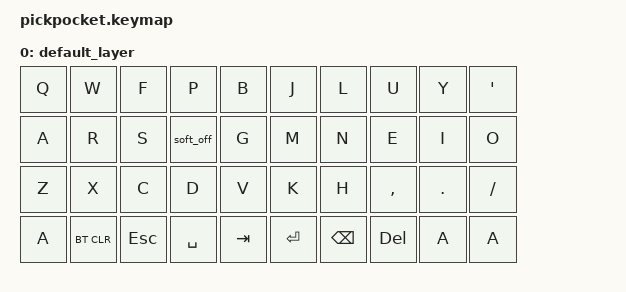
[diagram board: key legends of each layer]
#include <behaviors.dtsi>
#include <dt-bindings/zmk/keys.h>
#include <dt-bindings/zmk/bt.h>
#include <dt-bindings/zmk/outputs.h>


/ {    
    keymap {
        compatible = "zmk,keymap";

        default_layer {
// --------------------------------------------------------------------------------------------------------------------------------------------------------------------
// |   ESC   |    Q    |    W    |    E    |    R    |    T    |                                          |    Y    |    U    |    I    |    O    |    P    |    \    |
// |   TAB   |    A    |    S    |    D    |    F    |    G    |                                          |    H    |    J    |    K    |    L    |    ;    |    '    |
// |  SHIFT  |    Z    |    X    |    C    |    V    |    B    | CTRL+A  | CTRL+C  |  |  CTRL+V |  CTRL+X |    N    |    M    |    ,    |    .    |    /    |  R CTRL |
//                               |   GUI   |   DEL   | RETURN  |  SPACE  | ESCAPE  |  |  RETURN |  SPACE  |   TAB   |   BSPC  |  R ALT  |
            bindings = <
    &kp Q    &kp W         &kp F        &kp P        &kp B      &kp J         &kp L            &kp U             &kp Y        &kp SINGLE_QUOTE
    &kp A    &kp R         &kp S        &soft_off        &kp G      &kp M         &kp N            &kp E             &kp I        &kp O
    &kp Z    &kp X         &kp C        &kp D        &kp V      &kp K         &kp H            &kp COMMA         &kp PERIOD   &kp SLASH
    &kp A    &bt BT_CLR    &kp ESC   &kp SPACE    &kp TAB    &kp RETURN    &kp BACKSPACE    &kp DELETE        &kp A        &kp A
            >;
        };
    };
};
